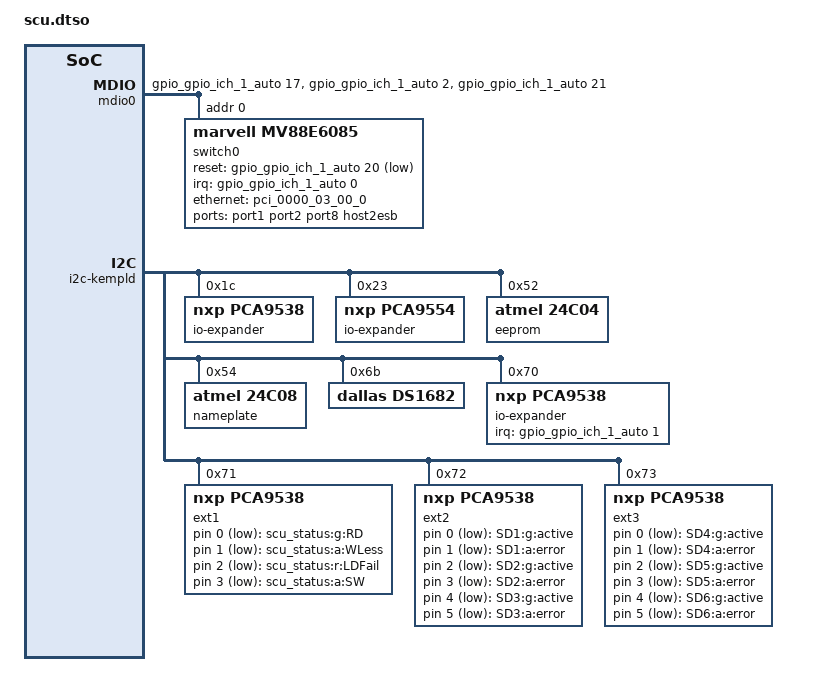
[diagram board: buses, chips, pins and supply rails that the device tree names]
// SPDX-License-Identifier: GPL-2.0
/*
 * Copyright (C) 2024 Andrew Lunn <andrew@lunn.ch>
 */

#include <dt-bindings/gpio/gpio.h>

/dts-v1/;
/plugin/;

/ {
    fragment@0 {
        target-path = "/";
        __overlay__ {
            mdio0: mdio {
                compatible = "virtual,mdio-gpio";
                #address-cells = <1>;
                #size-cells = <0>;
                gpios = <&gpio_gpio_ich_1_auto 17 GPIO_ACTIVE_HIGH>,
                        <&gpio_gpio_ich_1_auto 2 GPIO_OPEN_SOURCE>,
                        <&gpio_gpio_ich_1_auto 21 GPIO_ACTIVE_LOW>;

                switch0: switch@0 {
                    compatible = "marvell,mv88e6085";
                    reg = <0>;
                    dsa,member = <0 0>;
                    eeprom-length = <512>;
                    reset-gpio = <&gpio_gpio_ich_1_auto 20 GPIO_ACTIVE_LOW>;
                    interrupt-parent = <&gpio_gpio_ich_1_auto>;
                    interrupts = <0 GPIO_ACTIVE_HIGH>;

                    ports {
                        #address-cells = <1>;
                        #size-cells = <0>;

                        port@0 {
                            reg = <0>;
                            phy-mode = "rmii";
                            ethernet = <&pci_0000_03_00_0>;

                            fixed-link {
                                    speed = <100>;
                                    full-duplex;
                            };
                        };

                        port@1 {
                            reg = <1>;
                            label = "port1";
                        };

                        port@2 {
                            reg = <2>;
                            label = "port2";
                        };

                        port@3 {
                            reg = <3>;
                            label = "port8";
                        };

                        port@4 {
                            reg = <4>;
                            label = "host2esb";
                        };
                    };
                };
            };
        };
    };
    fragment@1 {
        target-path = "/i2c-kempld";
        __overlay__ {
            #address-cells = <1>;
            #size-cells = <0>;

            /* SD Card Detect 1-6 */
            io-expander@1c {
                compatible = "nxp,pca9538";
                reg = <0x1c>;
                gpio-controller;
                #gpio-cells = <2>;
                gpio-line-names = "pca9557:sd_card_detect_1",
                    "pca9557:sd_card_detect_2",
                    "pca9557:sd_card_detect_3",
                    "pca9557:sd_card_detect_4",
                    "pca9557:sd_card_detect_5",
                    "pca9557:sd_card_detect_6",
                    "pca9557:pmode_sel",
                    "pca9557:spare2";
            };

            /* PIC
            io-expander@20 {
                compatible = "zii,scu_pic";
                reg = <0x20>;
            };

            /* SDR Copper and Assemly Rev */
            io-expander@23 {
                compatible = "nxp,pca9554";
                reg = <0x23>;
                gpio-controller;
                #gpio-cells = <2>;
            };

            /* Bit EEPROM */
            eeprom@52 {
                compatible = "atmel,24c04";
                reg = <0x52>;
            };

            /* Nameplate EEPROM */
            nameplate: eeprom@54 {
                compatible = "atmel,24c08";
                reg = <0x54>;
                label = "nameplate";
            };

            /* Elapsed Time Counter */
            ds1682@6b {
                compatible = "dallas,ds1682";
                reg = <0x6b>;
            };

            /* Input Discretes */
            io-expander@70 {
                compatible = "nxp,pca9538";
                reg = <0x70>;
                gpio-controller;
                #gpio-cells = <2>;
                interrupt-parent = <&gpio_gpio_ich_1_auto>;
                interrupts = <1 GPIO_ACTIVE_HIGH>;
                gpio-line-names = "pca9538_ext0:wireless_ena_1",
                    "pca9538_ext0:wireless_ena_2",
                    "pca9538_ext0:wireless_a_radio_disable",
                    "pca9538_ext0:wireless_a_reset",
                    "pca9538_ext0:in_spare_1",
                    "pca9538_ext0:in_spare_2",
                    "pca9538_ext0:wireless_b_radio_disable",
                    "pca9538_ext0:wireless_b_reset";
            };

            /* LEDs + Output Discretes */
            ext1: io-expander@71 {
                compatible = "nxp,pca9538";
                reg = <0x71>;
                gpio-controller;
                #gpio-cells = <2>;
                gpio-line-names = "pca9538_ext1:rd_led_on",
                    "pca9538_ext1:wless_led_on",
                    "pca9538_ext1:ld_fail_led_on",
                    "pca9538_ext1:sw_led_on",
                    "pca9538_ext1:discrete_out_1",
                    "pca9538_ext1:discrete_out_2",
                    "pca9538_ext1:discrete_out_3",
                    "pca9538_ext1:discrete_out_4";
            };

            /* SD Card LEDS 1-3 and Hubs 1-2 Reset */
            ext2: io-expander@72 {
                compatible = "nxp,pca9538";
                reg = <0x72>;
                gpio-controller;
                #gpio-cells = <2>;
                gpio-line-names = "pca9538_ext2:sd_active_1",
                    "pca9538_ext2:sd_error_1",
                    "pca9538_ext2:sd_active_2",
                    "pca9538_ext2:sd_error_2",
                    "pca9538_ext2:sd_error_3",
                    "pca9538_ext2:sd_active_3",
                    "pca9538_ext2:hub_1_reset",
                    "pca9538_ext2:hub_2_reset";
            };

            /* SD Card LEDS 4-6 and Hubs 3-4 Reset */
            ext3: io-expander@73 {
                compatible = "nxp,pca9538";
                reg = <0x73>;
                gpio-controller;
                #gpio-cells = <2>;
                gpio-line-names = "pca9538_ext3:sd_error_4",
                    "pca9538_ext3:sd_active_4",
                    "pca9538_ext3:sd_error_5",
                    "pca9538_ext3:sd_active_5",
                    "pca9538_ext3:sd_error_6",
                    "pca9538_ext3:sd_active_6",
                    "pca9538_ext3:hub_3_reset",
                    "pca9538_ext3:hub_4_reset";
            };
        };
    };
    fragment@2 {
        target-path = "/";
        __overlay__ {
            leds-ext1 {
                compatible = "gpio-leds";
		led-0 {
		    gpios = <&ext1 0 GPIO_ACTIVE_LOW>;
		    linux,default_trigger = "heartbeat";
		    label = "scu_status:g:RD";
                };
		led-1 {
		    gpios = <&ext1 1 GPIO_ACTIVE_LOW>;
		    label = "scu_status:a:WLess";
		    default-state = "off";
                };
		led-2 {
		    gpios = <&ext1 2 GPIO_ACTIVE_LOW>;
		    label = "scu_status:r:LDFail";
		    default-state = "off";
                };
		led-3 {
		    gpios = <&ext1 3 GPIO_ACTIVE_LOW>;
		    label = "scu_status:a:SW";
		    default-state = "off";
                };
	    };
            leds-ext2 {
                compatible = "gpio-leds";
		led-0 {
		    gpios = <&ext2 0 GPIO_ACTIVE_LOW>;
		    label = "SD1:g:active";
		    default-state = "off";
                };
		led-1 {
		    gpios = <&ext2 1 GPIO_ACTIVE_LOW>;
		    label = "SD1:a:error";
		    default-state = "off";
                };
		led-2 {
		    gpios = <&ext2 2 GPIO_ACTIVE_LOW>;
		    label = "SD2:g:active";
		    default-state = "off";
                };
		led-3 {
		    gpios = <&ext2 3 GPIO_ACTIVE_LOW>;
		    label = "SD2:a:error";
		    default-state = "off";
                };
		led-4 {
		    gpios = <&ext2 4 GPIO_ACTIVE_LOW>;
		    label = "SD3:g:active";
		    default-state = "off";
                };
		led-5 {
		    gpios = <&ext2 5 GPIO_ACTIVE_LOW>;
		    label = "SD3:a:error";
		    default-state = "off";
                };
	    };
            leds-ext3 {
                compatible = "gpio-leds";
		led-0 {
		    gpios = <&ext3 0 GPIO_ACTIVE_LOW>;
		    label = "SD4:g:active";
		    default-state = "off";
                };
		led-1 {
		    gpios = <&ext3 1 GPIO_ACTIVE_LOW>;
		    label = "SD4:a:error";
		    default-state = "off";
                };
		led-2 {
		    gpios = <&ext3 2 GPIO_ACTIVE_LOW>;
		    label = "SD5:g:active";
		    default-state = "off";
                };
		led-3 {
		    gpios = <&ext3 3 GPIO_ACTIVE_LOW>;
		    label = "SD5:a:error";
		    default-state = "off";
                };
		led-4 {
		    gpios = <&ext3 4 GPIO_ACTIVE_LOW>;
		    label = "SD6:g:active";
		    default-state = "off";
                };
		led-5 {
		    gpios = <&ext3 5 GPIO_ACTIVE_LOW>;
		    label = "SD6:a:error";
		    default-state = "off";
                };
	    };
	};
    };
};
